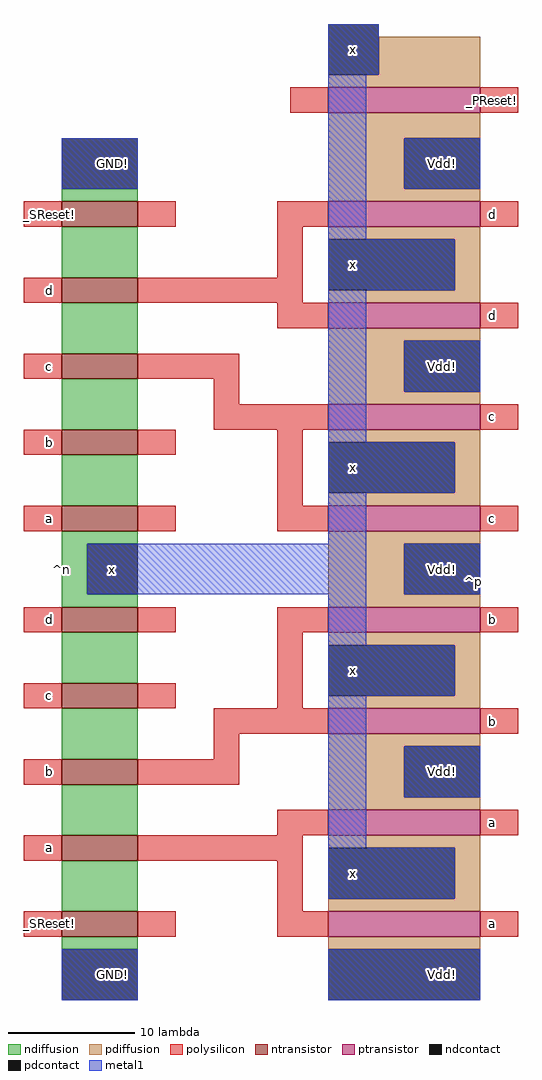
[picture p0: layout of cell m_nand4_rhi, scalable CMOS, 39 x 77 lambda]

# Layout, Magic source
magic
tech scmos
<< ndiffusion >>
rect -220 -727 -214 -726
rect -220 -733 -214 -729
rect -220 -739 -214 -735
rect -220 -745 -214 -741
rect -220 -751 -214 -747
rect -220 -754 -214 -753
rect -220 -758 -218 -754
rect -220 -759 -214 -758
rect -220 -765 -214 -761
rect -220 -771 -214 -767
rect -220 -777 -214 -773
rect -220 -783 -214 -779
rect -220 -786 -214 -785
<< pdiffusion >>
rect -195 -717 -187 -714
rect -199 -718 -187 -717
rect -199 -722 -187 -720
rect -199 -726 -193 -722
rect -199 -727 -187 -726
rect -199 -730 -187 -729
rect -189 -734 -187 -730
rect -199 -735 -187 -734
rect -199 -738 -187 -737
rect -199 -742 -193 -738
rect -199 -743 -187 -742
rect -199 -746 -187 -745
rect -189 -750 -187 -746
rect -199 -751 -187 -750
rect -199 -754 -187 -753
rect -199 -758 -193 -754
rect -199 -759 -187 -758
rect -199 -762 -187 -761
rect -189 -766 -187 -762
rect -199 -767 -187 -766
rect -199 -770 -187 -769
rect -199 -774 -193 -770
rect -199 -775 -187 -774
rect -199 -778 -187 -777
rect -189 -782 -187 -778
rect -199 -783 -187 -782
rect -199 -786 -187 -785
<< ntransistor >>
rect -220 -729 -214 -727
rect -220 -735 -214 -733
rect -220 -741 -214 -739
rect -220 -747 -214 -745
rect -220 -753 -214 -751
rect -220 -761 -214 -759
rect -220 -767 -214 -765
rect -220 -773 -214 -771
rect -220 -779 -214 -777
rect -220 -785 -214 -783
<< ptransistor >>
rect -199 -720 -187 -718
rect -199 -729 -187 -727
rect -199 -737 -187 -735
rect -199 -745 -187 -743
rect -199 -753 -187 -751
rect -199 -761 -187 -759
rect -199 -769 -187 -767
rect -199 -777 -187 -775
rect -199 -785 -187 -783
<< polysilicon >>
rect -202 -720 -199 -718
rect -187 -720 -184 -718
rect -223 -729 -220 -727
rect -214 -729 -211 -727
rect -203 -729 -199 -727
rect -187 -729 -184 -727
rect -203 -733 -201 -729
rect -223 -735 -220 -733
rect -214 -735 -201 -733
rect -203 -737 -199 -735
rect -187 -737 -184 -735
rect -223 -741 -220 -739
rect -214 -741 -206 -739
rect -208 -743 -206 -741
rect -208 -745 -199 -743
rect -187 -745 -184 -743
rect -223 -747 -220 -745
rect -214 -747 -211 -745
rect -203 -751 -201 -745
rect -223 -753 -220 -751
rect -214 -753 -211 -751
rect -203 -753 -199 -751
rect -187 -753 -184 -751
rect -223 -761 -220 -759
rect -214 -761 -211 -759
rect -203 -761 -199 -759
rect -187 -761 -184 -759
rect -223 -767 -220 -765
rect -214 -767 -211 -765
rect -203 -767 -201 -761
rect -208 -769 -199 -767
rect -187 -769 -184 -767
rect -208 -771 -206 -769
rect -223 -773 -220 -771
rect -214 -773 -206 -771
rect -203 -777 -199 -775
rect -187 -777 -184 -775
rect -223 -779 -220 -777
rect -214 -779 -201 -777
rect -203 -783 -201 -779
rect -223 -785 -220 -783
rect -214 -785 -211 -783
rect -203 -785 -199 -783
rect -187 -785 -184 -783
<< ndcontact >>
rect -220 -726 -214 -722
rect -218 -758 -214 -754
rect -220 -790 -214 -786
<< pdcontact >>
rect -199 -717 -195 -713
rect -193 -726 -187 -722
rect -199 -734 -189 -730
rect -193 -742 -187 -738
rect -199 -750 -189 -746
rect -193 -758 -187 -754
rect -199 -766 -189 -762
rect -193 -774 -187 -770
rect -199 -782 -189 -778
rect -199 -790 -187 -786
<< metal1 >>
rect -199 -717 -195 -713
rect -220 -726 -214 -722
rect -199 -730 -196 -717
rect -193 -726 -187 -722
rect -199 -734 -189 -730
rect -199 -746 -196 -734
rect -193 -742 -187 -738
rect -199 -750 -189 -746
rect -199 -754 -196 -750
rect -218 -758 -196 -754
rect -193 -758 -187 -754
rect -199 -762 -196 -758
rect -199 -766 -189 -762
rect -199 -778 -196 -766
rect -193 -774 -187 -770
rect -199 -782 -189 -778
rect -220 -790 -214 -786
rect -199 -790 -187 -786
<< labels >>
rlabel polysilicon -186 -784 -186 -784 7 a
rlabel polysilicon -186 -776 -186 -776 7 a
rlabel polysilicon -186 -768 -186 -768 7 b
rlabel polysilicon -186 -760 -186 -760 7 b
rlabel polysilicon -186 -752 -186 -752 7 c
rlabel polysilicon -186 -744 -186 -744 7 c
rlabel polysilicon -186 -736 -186 -736 7 d
rlabel polysilicon -186 -728 -186 -728 7 d
rlabel space -191 -791 -184 -723 3 ^p
rlabel polysilicon -221 -734 -221 -734 3 d
rlabel polysilicon -221 -740 -221 -740 3 c
rlabel polysilicon -221 -746 -221 -746 3 b
rlabel polysilicon -221 -752 -221 -752 3 a
rlabel polysilicon -221 -760 -221 -760 3 d
rlabel polysilicon -221 -766 -221 -766 3 c
rlabel polysilicon -221 -772 -221 -772 3 b
rlabel polysilicon -221 -778 -221 -778 3 a
rlabel polysilicon -221 -784 -221 -784 3 _SReset!
rlabel polysilicon -221 -728 -221 -728 3 _SReset!
rlabel space -223 -791 -217 -721 7 ^n
rlabel polysilicon -186 -719 -186 -719 1 _PReset!
rlabel pdcontact -197 -732 -197 -732 1 x
rlabel pdcontact -197 -748 -197 -748 1 x
rlabel pdcontact -197 -764 -197 -764 1 x
rlabel pdcontact -197 -780 -197 -780 1 x
rlabel pdcontact -190 -772 -190 -772 1 Vdd!
rlabel pdcontact -190 -756 -190 -756 1 Vdd!
rlabel pdcontact -190 -740 -190 -740 1 Vdd!
rlabel pdcontact -190 -724 -190 -724 1 Vdd!
rlabel pdcontact -190 -788 -190 -788 1 Vdd!
rlabel ndcontact -216 -756 -216 -756 1 x
rlabel ndcontact -216 -724 -216 -724 5 GND!
rlabel ndcontact -216 -788 -216 -788 1 GND!
rlabel pdcontact -197 -715 -197 -715 5 x
<< end >>
